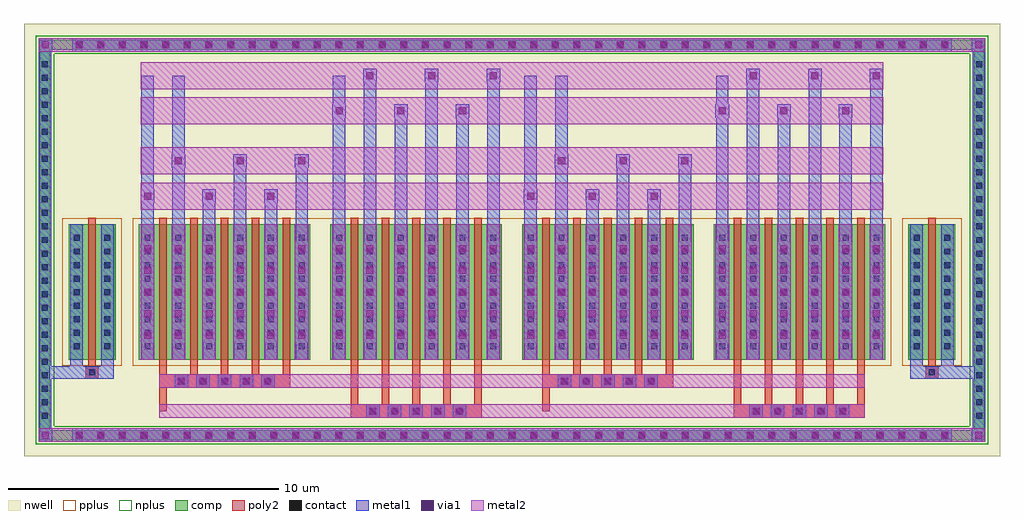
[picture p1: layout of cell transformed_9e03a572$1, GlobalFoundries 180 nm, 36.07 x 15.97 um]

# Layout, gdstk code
import gdstk
lib = gdstk.Library(unit=1e-6, precision=5e-09)
def R(c, l, rs):  # rectangles x0, y0, x1, y1
    for r in rs: c.add(gdstk.rectangle(r[:2], r[2:], *l))
def A(c, l, x, y, w, h, nx, ny, dx, dy):  # array of equal rectangles
    R(c, l, [(x+i*dx, y+j*dy, x+i*dx+w, y+j*dy+h) for i in range(nx) for j in range(ny)])
def P(c, l, *ps):  # polygons
    for p in ps: c.add(gdstk.Polygon(p, *l))
nwell = (21, 0)
comp = (22, 0)
poly2 = (30, 0)
pplus = (31, 0)
nplus = (32, 0)
contact = (33, 0)
metal1 = (34, 0)
via1 = (35, 0)
metal2 = (36, 0)

unnamed_4f2c79b8_1_1 = lib.new_cell('Unnamed_4f2c79b8$1$1')
A(unnamed_4f2c79b8_1_1, comp, -16.18, -7.395, 0.36, 0.36, 41, 2, 0.8, 14.43)
A(unnamed_4f2c79b8_1_1, comp, -17.445, -6.68, 0.36, 0.36, 1, 27, 0, 0.5)
A(unnamed_4f2c79b8_1_1, comp, 17.085, -6.68, 0.36, 0.36, 1, 27, 0, 0.5)
R(unnamed_4f2c79b8_1_1, comp, [(-16.18,-7.395,16.18,-7.035), (-17.445,-6.68,-17.085,6.68), (17.085,-6.68,17.445,6.68), (-16.18,7.035,16.18,7.395)])
P(unnamed_4f2c79b8_1_1, comp, [(-17.445,-7.395),(-17.445,-7.035),(-17.085,-7.035),(17.085,-7.035),(17.085,7.035),(-17.085,7.035),(-17.085,-7.035),(-17.445,-7.035),(-17.445,7.395),(17.445,7.395),(17.445,-7.395)])
P(unnamed_4f2c79b8_1_1, nplus, [(-17.605,-7.555),(-17.605,-6.875),(-16.925,-6.875),(16.925,-6.875),(16.925,6.875),(-16.925,6.875),(-16.925,-6.875),(-17.605,-6.875),(-17.605,7.555),(17.605,7.555),(17.605,-7.555)])
A(unnamed_4f2c79b8_1_1, contact, -16.11, -7.325, 0.22, 0.22, 41, 2, 0.8, 14.43)
A(unnamed_4f2c79b8_1_1, contact, -17.375, -6.61, 0.22, 0.22, 1, 27, 0, 0.5)
A(unnamed_4f2c79b8_1_1, contact, 17.155, -6.61, 0.22, 0.22, 1, 27, 0, 0.5)
A(unnamed_4f2c79b8_1_1, metal1, -16.25, -7.465, 0.5, 0.5, 41, 2, 0.8, 14.43)
A(unnamed_4f2c79b8_1_1, metal1, -17.495, -6.73, 0.46, 0.46, 1, 27, 0, 0.5)
A(unnamed_4f2c79b8_1_1, metal1, 17.035, -6.73, 0.46, 0.46, 1, 27, 0, 0.5)
R(unnamed_4f2c79b8_1_1, metal1, [(-17.495,-7.465,-16.995,-6.965), (-17.495,-7.465,-16.995,-6.965), (-17.495,-7.465,-17.035,-7.035), (-16.25,-7.465,16.25,-6.965), (16.995,-7.465,17.495,-6.965), (16.995,-7.465,17.495,-6.965), (17.035,-7.465,17.495,-7.035), (-17.495,-7.035,-17.035,7.035), (17.035,-7.035,17.495,7.035), (-17.495,6.965,-16.995,7.465), (-17.495,6.965,-16.995,7.465), (-16.25,6.965,16.25,7.465), (16.995,6.965,17.495,7.465), (16.995,6.965,17.495,7.465), (-17.495,7.035,-17.035,7.465), (17.035,7.035,17.495,7.465)])
A(unnamed_4f2c79b8_1_1, via1, -16.13, -7.345, 0.26, 0.26, 41, 2, 0.8, 14.43)
R(unnamed_4f2c79b8_1_1, via1, [(-17.375,-7.345,-17.115,-7.085), (17.115,-7.345,17.375,-7.085), (-17.375,7.085,-17.115,7.345), (17.115,7.085,17.375,7.345)])
A(unnamed_4f2c79b8_1_1, metal2, -16.25, -7.465, 0.5, 0.5, 41, 2, 0.8, 14.43)
R(unnamed_4f2c79b8_1_1, metal2, [(-17.495,-7.465,-17.085,-6.965), (-17.495,-7.465,-16.995,-6.965), (-17.495,-7.465,-16.995,-6.965), (-17.085,-7.465,17.085,-6.965), (16.995,-7.465,17.495,-6.965), (16.995,-7.465,17.495,-6.965), (17.085,-7.465,17.495,-6.965), (-17.495,6.965,-17.085,7.465), (-17.495,6.965,-16.995,7.465), (-17.495,6.965,-16.995,7.465), (-17.085,6.965,17.085,7.465), (16.995,6.965,17.495,7.465), (16.995,6.965,17.495,7.465), (17.085,6.965,17.495,7.465)])

straight_route_f77b46c2_ = lib.new_cell('straight_route_f77b46c2$2')
R(straight_route_f77b46c2_, metal1, [(-17.495,-5.125,-15.75,-4.665)])

straight_route_fcf8f16f_ = lib.new_cell('straight_route_fcf8f16f$2')
R(straight_route_fcf8f16f_, metal1, [(15.75,-5.125,17.495,-4.665)])

transformed_9e03a572_1 = lib.new_cell('transformed_9e03a572$1')
R(transformed_9e03a572_1, nwell, [(-18.035,-7.985,18.035,7.985)])
A(transformed_9e03a572_1, comp, -13.79, -4.425, 6.34, 5, 4, 1, 7.08, 0)
R(transformed_9e03a572_1, comp, [(-16.39,-4.425,-14.65,0.575), (14.65,-4.425,16.39,0.575)])
A(transformed_9e03a572_1, poly2, -5.32, -6.505, 0.36, 0.36, 5, 1, 0.8, 0)
A(transformed_9e03a572_1, poly2, 8.84, -6.505, 0.36, 0.36, 5, 1, 0.8, 0)
A(transformed_9e03a572_1, poly2, -5.96, -6.075, 0.28, 1.41, 5, 1, 1.14, 0)
A(transformed_9e03a572_1, poly2, 8.2, -6.075, 0.28, 1.41, 5, 1, 1.14, 0)
A(transformed_9e03a572_1, poly2, -12.4, -5.395, 0.36, 0.36, 5, 1, 0.8, 0)
A(transformed_9e03a572_1, poly2, 1.76, -5.395, 0.36, 0.36, 5, 1, 0.8, 0)
A(transformed_9e03a572_1, poly2, -13.04, -4.965, 0.28, 0.3, 5, 1, 1.14, 0)
A(transformed_9e03a572_1, poly2, 1.12, -4.965, 0.28, 0.3, 5, 1, 1.14, 0)
A(transformed_9e03a572_1, poly2, -13.04, -4.665, 0.28, 5.48, 5, 1, 1.14, 0)
A(transformed_9e03a572_1, poly2, -5.96, -4.665, 0.28, 5.48, 5, 1, 1.14, 0)
A(transformed_9e03a572_1, poly2, 1.12, -4.665, 0.28, 5.48, 5, 1, 1.14, 0)
A(transformed_9e03a572_1, poly2, 8.2, -4.665, 0.28, 5.48, 5, 1, 1.14, 0)
R(transformed_9e03a572_1, poly2, [(-5.96,-6.575,-1.12,-6.075), (8.2,-6.575,13.04,-6.075), (-13.04,-6.325,-12.76,-4.665), (1.12,-6.325,1.4,-4.665), (-13.04,-5.465,-8.2,-4.965), (1.12,-5.465,5.96,-4.965), (-15.75,-5.125,-15.29,-4.665), (15.29,-5.125,15.75,-4.665), (-15.7,-5.075,-15.34,-4.715), (15.34,-5.075,15.7,-4.715), (-15.66,-4.665,-15.38,0.815), (15.38,-4.665,15.66,0.815)])
A(transformed_9e03a572_1, pplus, -14.02, -4.655, 6.8, 5.46, 4, 1, 7.08, 0)
R(transformed_9e03a572_1, pplus, [(-16.62,-4.655,-14.42,0.805), (-14.02,-4.655,14.02,0.805), (14.42,-4.655,16.62,0.805)])
A(transformed_9e03a572_1, contact, -5.25, -6.435, 0.22, 0.22, 5, 1, 0.8, 0)
A(transformed_9e03a572_1, contact, 8.91, -6.435, 0.22, 0.22, 5, 1, 0.8, 0)
A(transformed_9e03a572_1, contact, -12.33, -5.325, 0.22, 0.22, 5, 1, 0.8, 0)
A(transformed_9e03a572_1, contact, 1.83, -5.325, 0.22, 0.22, 5, 1, 0.8, 0)
A(transformed_9e03a572_1, contact, -16.2, -4.035, 0.22, 0.22, 1, 9, 0, 0.5)
A(transformed_9e03a572_1, contact, -15.06, -4.035, 0.22, 0.22, 1, 9, 0, 0.5)
A(transformed_9e03a572_1, contact, -13.58, -4.035, 0.22, 0.22, 6, 9, 1.14, 0.5)
A(transformed_9e03a572_1, contact, -6.5, -4.035, 0.22, 0.22, 6, 9, 1.14, 0.5)
A(transformed_9e03a572_1, contact, 0.58, -4.035, 0.22, 0.22, 6, 9, 1.14, 0.5)
A(transformed_9e03a572_1, contact, 7.66, -4.035, 0.22, 0.22, 6, 9, 1.14, 0.5)
A(transformed_9e03a572_1, contact, 14.84, -4.035, 0.22, 0.22, 1, 9, 0, 0.5)
A(transformed_9e03a572_1, contact, 15.98, -4.035, 0.22, 0.22, 1, 9, 0, 0.5)
R(transformed_9e03a572_1, contact, [(-15.63,-5.005,-15.41,-4.785), (15.41,-5.005,15.63,-4.785)])
A(transformed_9e03a572_1, metal1, -5.39, -6.575, 0.5, 0.5, 5, 1, 0.8, 0)
A(transformed_9e03a572_1, metal1, 8.77, -6.575, 0.5, 0.5, 5, 1, 0.8, 0)
A(transformed_9e03a572_1, metal1, -12.47, -5.465, 0.5, 0.5, 5, 1, 0.8, 0)
A(transformed_9e03a572_1, metal1, 1.69, -5.465, 0.5, 0.5, 5, 1, 0.8, 0)
A(transformed_9e03a572_1, metal1, -13.7, -4.425, 0.46, 5, 6, 1, 1.14, 0)
A(transformed_9e03a572_1, metal1, -6.62, -4.425, 0.46, 5, 6, 1, 1.14, 0)
A(transformed_9e03a572_1, metal1, 0.46, -4.425, 0.46, 5, 6, 1, 1.14, 0)
A(transformed_9e03a572_1, metal1, 7.54, -4.425, 0.46, 5, 6, 1, 1.14, 0)
A(transformed_9e03a572_1, metal1, -16.32, -4.155, 0.46, 0.46, 1, 9, 0, 0.5)
A(transformed_9e03a572_1, metal1, -15.18, -4.155, 0.46, 0.46, 1, 9, 0, 0.5)
A(transformed_9e03a572_1, metal1, -13.7, -4.155, 0.46, 0.46, 6, 9, 1.14, 0.5)
A(transformed_9e03a572_1, metal1, -6.62, -4.155, 0.46, 0.46, 6, 9, 1.14, 0.5)
A(transformed_9e03a572_1, metal1, 0.46, -4.155, 0.46, 0.46, 6, 9, 1.14, 0.5)
A(transformed_9e03a572_1, metal1, 7.54, -4.155, 0.46, 0.46, 6, 9, 1.14, 0.5)
A(transformed_9e03a572_1, metal1, 14.72, -4.155, 0.46, 0.46, 1, 9, 0, 0.5)
A(transformed_9e03a572_1, metal1, 15.86, -4.155, 0.46, 0.46, 1, 9, 0, 0.5)
A(transformed_9e03a572_1, metal1, -13.72, -3.775, 0.5, 0.5, 6, 5, 1.14, 0.8)
A(transformed_9e03a572_1, metal1, -13.72, -3.775, 0.5, 3.7, 6, 1, 1.14, 0)
A(transformed_9e03a572_1, metal1, -6.64, -3.775, 0.5, 0.5, 6, 5, 1.14, 0.8)
A(transformed_9e03a572_1, metal1, -6.64, -3.775, 0.5, 3.7, 6, 1, 1.14, 0)
A(transformed_9e03a572_1, metal1, 0.44, -3.775, 0.5, 0.5, 6, 5, 1.14, 0.8)
A(transformed_9e03a572_1, metal1, 0.44, -3.775, 0.5, 3.7, 6, 1, 1.14, 0)
A(transformed_9e03a572_1, metal1, 7.52, -3.775, 0.5, 0.5, 6, 5, 1.14, 0.8)
A(transformed_9e03a572_1, metal1, 7.52, -3.775, 0.5, 3.7, 6, 1, 1.14, 0)
A(transformed_9e03a572_1, metal1, -13.7, 0.575, 0.46, 1.3, 3, 1, 2.28, 0)
A(transformed_9e03a572_1, metal1, -12.56, 0.575, 0.46, 2.6, 3, 1, 2.28, 0)
A(transformed_9e03a572_1, metal1, -6.62, 0.575, 0.46, 4.45, 3, 1, 2.28, 0)
A(transformed_9e03a572_1, metal1, -5.48, 0.575, 0.46, 5.75, 3, 1, 2.28, 0)
A(transformed_9e03a572_1, metal1, 0.46, 0.575, 0.46, 1.3, 3, 1, 2.28, 0)
A(transformed_9e03a572_1, metal1, 1.6, 0.575, 0.46, 2.6, 3, 1, 2.28, 0)
A(transformed_9e03a572_1, metal1, 7.54, 0.575, 0.46, 4.45, 3, 1, 2.28, 0)
A(transformed_9e03a572_1, metal1, 8.68, 0.575, 0.46, 5.75, 3, 1, 2.28, 0)
A(transformed_9e03a572_1, metal1, -13.72, 1.375, 0.5, 0.5, 3, 1, 2.28, 0)
A(transformed_9e03a572_1, metal1, 0.44, 1.375, 0.5, 0.5, 3, 1, 2.28, 0)
A(transformed_9e03a572_1, metal1, -12.58, 2.675, 0.5, 0.5, 3, 1, 2.28, 0)
A(transformed_9e03a572_1, metal1, 1.58, 2.675, 0.5, 0.5, 3, 1, 2.28, 0)
A(transformed_9e03a572_1, metal1, -6.64, 4.525, 0.5, 0.5, 3, 1, 2.28, 0)
A(transformed_9e03a572_1, metal1, 7.52, 4.525, 0.5, 0.5, 3, 1, 2.28, 0)
A(transformed_9e03a572_1, metal1, -5.5, 5.825, 0.5, 0.5, 3, 1, 2.28, 0)
A(transformed_9e03a572_1, metal1, 8.66, 5.825, 0.5, 0.5, 3, 1, 2.28, 0)
R(transformed_9e03a572_1, metal1, [(-16.32,-5.125,-15.75,-4.665), (-16.32,-5.125,-15.86,-4.425), (-15.75,-5.125,-15.29,-4.665), (-15.29,-5.125,-14.72,-4.665), (-15.18,-5.125,-14.72,-4.425), (14.72,-5.125,15.29,-4.665), (14.72,-5.125,15.18,-4.425), (15.29,-5.125,15.75,-4.665), (15.75,-5.125,16.32,-4.665), (15.86,-5.125,16.32,-4.425), (-16.32,-4.425,-15.86,0.575), (-15.18,-4.425,-14.72,0.575), (14.72,-4.425,15.18,0.575), (15.86,-4.425,16.32,0.575), (-13.7,0.575,-13.24,6.075), (-12.56,0.575,-12.1,6.075), (-6.62,0.575,-6.16,6.075), (-5.48,0.575,-5.02,6.075), (0.46,0.575,0.92,6.075), (1.6,0.575,2.06,6.075), (7.54,0.575,8,6.075), (8.68,0.575,9.14,6.075)])
A(transformed_9e03a572_1, via1, -5.27, -6.455, 0.26, 0.26, 5, 1, 0.8, 0)
A(transformed_9e03a572_1, via1, 8.89, -6.455, 0.26, 0.26, 5, 1, 0.8, 0)
A(transformed_9e03a572_1, via1, -12.35, -5.345, 0.26, 0.26, 5, 1, 0.8, 0)
A(transformed_9e03a572_1, via1, 1.81, -5.345, 0.26, 0.26, 5, 1, 0.8, 0)
A(transformed_9e03a572_1, via1, -13.6, -3.655, 0.26, 0.26, 6, 5, 1.14, 0.8)
A(transformed_9e03a572_1, via1, -6.52, -3.655, 0.26, 0.26, 6, 5, 1.14, 0.8)
A(transformed_9e03a572_1, via1, 0.56, -3.655, 0.26, 0.26, 6, 5, 1.14, 0.8)
A(transformed_9e03a572_1, via1, 7.64, -3.655, 0.26, 0.26, 6, 5, 1.14, 0.8)
A(transformed_9e03a572_1, via1, -13.6, 1.495, 0.26, 0.26, 3, 1, 2.28, 0)
A(transformed_9e03a572_1, via1, 0.56, 1.495, 0.26, 0.26, 3, 1, 2.28, 0)
A(transformed_9e03a572_1, via1, -12.46, 2.795, 0.26, 0.26, 3, 1, 2.28, 0)
A(transformed_9e03a572_1, via1, 1.7, 2.795, 0.26, 0.26, 3, 1, 2.28, 0)
A(transformed_9e03a572_1, via1, -6.52, 4.645, 0.26, 0.26, 3, 1, 2.28, 0)
A(transformed_9e03a572_1, via1, 7.64, 4.645, 0.26, 0.26, 3, 1, 2.28, 0)
A(transformed_9e03a572_1, via1, -5.38, 5.945, 0.26, 0.26, 3, 1, 2.28, 0)
A(transformed_9e03a572_1, via1, 8.78, 5.945, 0.26, 0.26, 3, 1, 2.28, 0)
A(transformed_9e03a572_1, metal2, -5.39, -6.575, 0.5, 0.5, 5, 1, 0.8, 0)
A(transformed_9e03a572_1, metal2, 8.77, -6.575, 0.5, 0.5, 5, 1, 0.8, 0)
A(transformed_9e03a572_1, metal2, -12.47, -5.465, 0.5, 0.5, 5, 1, 0.8, 0)
A(transformed_9e03a572_1, metal2, 1.69, -5.465, 0.5, 0.5, 5, 1, 0.8, 0)
A(transformed_9e03a572_1, metal2, -13.72, -4.425, 0.5, 5, 6, 1, 1.14, 0)
A(transformed_9e03a572_1, metal2, -6.64, -4.425, 0.5, 5, 6, 1, 1.14, 0)
A(transformed_9e03a572_1, metal2, 0.44, -4.425, 0.5, 5, 6, 1, 1.14, 0)
A(transformed_9e03a572_1, metal2, 7.52, -4.425, 0.5, 5, 6, 1, 1.14, 0)
A(transformed_9e03a572_1, metal2, -13.72, -3.775, 0.5, 0.5, 6, 5, 1.14, 0.8)
A(transformed_9e03a572_1, metal2, -6.64, -3.775, 0.5, 0.5, 6, 5, 1.14, 0.8)
A(transformed_9e03a572_1, metal2, 0.44, -3.775, 0.5, 0.5, 6, 5, 1.14, 0.8)
A(transformed_9e03a572_1, metal2, 7.52, -3.775, 0.5, 0.5, 6, 5, 1.14, 0.8)
A(transformed_9e03a572_1, metal2, -13.72, 1.375, 0.5, 0.5, 3, 1, 2.28, 0)
A(transformed_9e03a572_1, metal2, 0.44, 1.375, 0.5, 0.5, 3, 1, 2.28, 0)
A(transformed_9e03a572_1, metal2, -12.58, 2.675, 0.5, 0.5, 3, 1, 2.28, 0)
A(transformed_9e03a572_1, metal2, 1.58, 2.675, 0.5, 0.5, 3, 1, 2.28, 0)
A(transformed_9e03a572_1, metal2, -6.64, 4.525, 0.5, 0.5, 3, 1, 2.28, 0)
A(transformed_9e03a572_1, metal2, 7.52, 4.525, 0.5, 0.5, 3, 1, 2.28, 0)
A(transformed_9e03a572_1, metal2, -5.5, 5.825, 0.5, 0.5, 3, 1, 2.28, 0)
A(transformed_9e03a572_1, metal2, 8.66, 5.825, 0.5, 0.5, 3, 1, 2.28, 0)
R(transformed_9e03a572_1, metal2, [(-13.04,-6.575,13.04,-6.075), (-5.96,-6.575,-1.12,-6.075), (8.2,-6.575,13.04,-6.075), (-13.04,-5.465,13.04,-4.965), (-13.04,-5.465,-8.2,-4.965), (1.12,-5.465,5.96,-4.965), (-13.72,1.125,13.72,2.125), (-13.72,1.125,-7.52,2.125), (0.44,1.125,6.64,2.125), (-13.72,2.425,13.72,3.425), (-13.72,2.425,-7.52,3.425), (0.44,2.425,6.64,3.425), (-13.72,4.275,13.72,5.275), (-6.64,4.275,-0.44,5.275), (7.52,4.275,13.72,5.275), (-13.72,5.575,13.72,6.575), (-6.64,5.575,-0.44,6.575), (7.52,5.575,13.72,6.575)])
transformed_9e03a572_1.add(gdstk.Reference(unnamed_4f2c79b8_1_1, (0,0)))
transformed_9e03a572_1.add(gdstk.Reference(straight_route_f77b46c2_, (0,0)))
transformed_9e03a572_1.add(gdstk.Reference(straight_route_fcf8f16f_, (0,0)))

lib.write_gds('transformed_9e03a572_1.gds')
